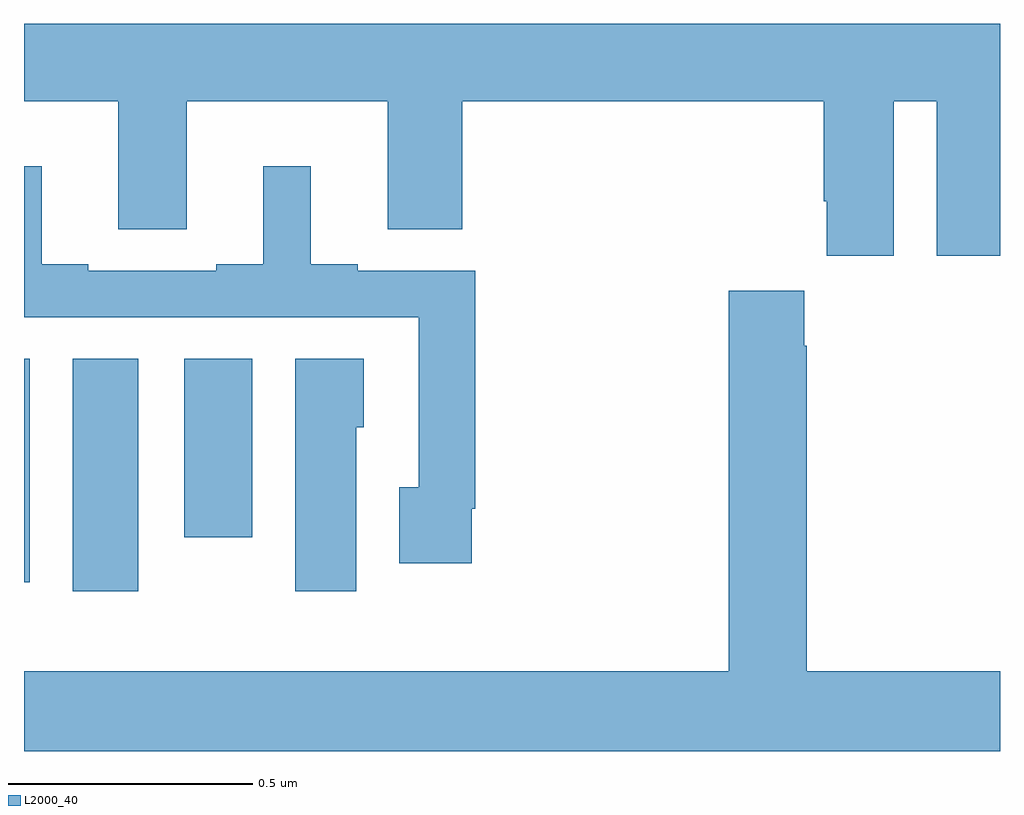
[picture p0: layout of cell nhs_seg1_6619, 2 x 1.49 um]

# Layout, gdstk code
import gdstk
lib = gdstk.Library(unit=1e-6, precision=1e-09)
def R(c, l, rs):  # rectangles x0, y0, x1, y1
    for r in rs: c.add(gdstk.rectangle(r[:2], r[2:], *l))
def P(c, l, *ps):  # polygons
    for p in ps: c.add(gdstk.Polygon(p, *l))
L2000_40 = (2000, 40)

nhs_seg1_6619 = lib.new_cell('nhs_seg1_6619')
R(nhs_seg1_6619, L2000_40, [(193.1,576.036,193.234,576.512), (193,576.054,193.012,576.512), (193.328,576.147,193.468,576.512)])
P(nhs_seg1_6619, L2000_40, [(194.782,577.04),(194.87,577.04),(194.87,576.723),(195,576.723),(195,577.199),(193,577.199),(193,577.04),(193.193,577.04),(193.193,576.778),(193.333,576.778),(193.333,577.04),(193.745,577.04),(193.745,576.778),(193.898,576.778),(193.898,577.04),(194.639,577.04),(194.639,576.835),(194.645,576.835),(194.645,576.723),(194.782,576.723)],
  [(193.918,576.205),(193.925,576.205),(193.925,576.693),(193.684,576.693),(193.684,576.706),(193.588,576.706),(193.588,576.907),(193.49,576.907),(193.49,576.706),(193.394,576.706),(193.394,576.693),(193.132,576.693),(193.132,576.706),(193.036,576.706),(193.036,576.907),(193,576.907),(193,576.597),(193.809,576.597),(193.809,576.249),(193.769,576.249),(193.769,576.093),(193.918,576.093)],
  [(195,575.872),(194.604,575.872),(194.604,576.539),(194.599,576.539),(194.599,576.652),(194.444,576.652),(194.444,575.872),(193,575.872),(193,575.708),(195,575.708)],
  [(193.681,576.372),(193.696,576.372),(193.696,576.512),(193.556,576.512),(193.556,576.036),(193.681,576.036)])

lib.write_gds('nhs_seg1_6619.gds')
